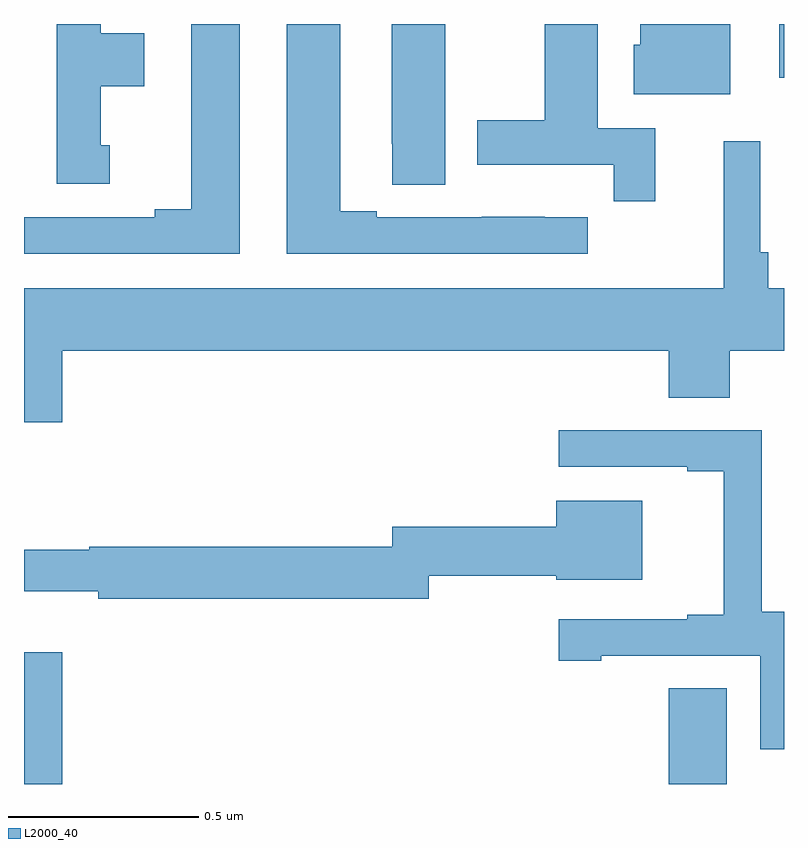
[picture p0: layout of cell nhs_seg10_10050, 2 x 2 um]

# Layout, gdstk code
import gdstk
lib = gdstk.Library(unit=1e-6, precision=1e-09)
def R(c, l, rs):  # rectangles x0, y0, x1, y1
    for r in rs: c.add(gdstk.rectangle(r[:2], r[2:], *l))
def P(c, l, *ps):  # polygons
    for p in ps: c.add(gdstk.Polygon(p, *l))
L2000_40 = (2000, 40)

nhs_seg10_10050 = lib.new_cell('nhs_seg10_10050')
R(nhs_seg10_10050, L2000_40, [(237,1308.5,237.1,1308.847), (238.697,1308.5,238.849,1308.752), (238.988,1310.358,239,1310.5)])
P(nhs_seg10_10050, L2000_40, [(237.568,1310.5),(237.44,1310.5),(237.44,1310.012),(237.344,1310.012),(237.344,1309.992),(237,1309.992),(237,1309.896),(237.568,1309.896)],
  [(238.108,1310.5),(237.968,1310.5),(237.968,1310.185),(237.969,1310.185),(237.969,1310.077),(238.108,1310.077)],
  [(238.483,1309.992),(238.37,1309.992),(238.37,1309.993),(238.204,1309.993),(238.204,1309.992),(237.928,1309.992),(237.928,1310.007),(237.832,1310.007),(237.832,1310.5),(237.692,1310.5),(237.692,1309.896),(238.483,1309.896)],
  [(238.661,1310.226),(238.51,1310.226),(238.51,1310.5),(238.37,1310.5),(238.37,1310.247),(238.193,1310.247),(238.193,1310.13),(238.552,1310.13),(238.552,1310.034),(238.661,1310.034)],
  [(237.226,1310.181),(237.202,1310.181),(237.202,1310.336),(237.316,1310.336),(237.316,1310.476),(237.202,1310.476),(237.202,1310.5),(237.086,1310.5),(237.086,1310.079),(237.226,1310.079)],
  [(238.858,1310.5),(238.622,1310.5),(238.622,1310.445),(238.604,1310.445),(238.604,1310.315),(238.858,1310.315)],
  [(237.1,1309.64),(238.697,1309.64),(238.697,1309.516),(238.857,1309.516),(238.857,1309.64),(239,1309.64),(239,1309.804),(238.958,1309.804),(238.958,1309.9),(238.938,1309.9),(238.938,1310.191),(238.841,1310.191),(238.841,1309.804),(237,1309.804),(237,1309.452),(237.1,1309.452)],
  [(239,1308.953),(238.941,1308.953),(238.941,1309.431),(238.407,1309.431),(238.407,1309.335),(238.745,1309.335),(238.745,1309.323),(238.841,1309.323),(238.841,1308.946),(238.745,1308.946),(238.745,1308.933),(238.407,1308.933),(238.407,1308.825),(238.519,1308.825),(238.519,1308.837),(238.938,1308.837),(238.938,1308.591),(239,1308.591)],
  [(238.065,1309.048),(238.4,1309.048),(238.4,1309.037),(238.627,1309.037),(238.627,1309.246),(238.4,1309.246),(238.4,1309.177),(237.969,1309.177),(237.969,1309.124),(237.172,1309.124),(237.172,1309.117),(237,1309.117),(237,1309.007),(237.196,1309.007),(237.196,1308.988),(238.065,1308.988)])

lib.write_gds('nhs_seg10_10050.gds')
